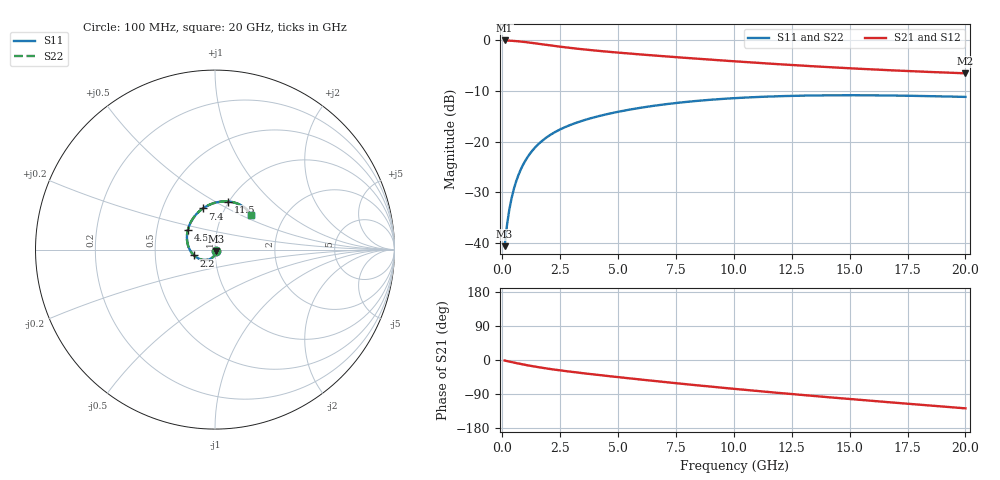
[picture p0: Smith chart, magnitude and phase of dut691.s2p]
! Touchstone file exported from HFSS 2024.1.0
!  File:  C:/UserFiles/LocalFiles/RDL_TSV_Batchsim/temp_RDL_TSV_691_1779819065.aedt
!  Generated:  02:27:32 AM May 27, 2026
!  Design:  RDL_TSV
!  Project:  temp_RDL_TSV_691_1779819065
!  Setup:  Setup1
!  Solution:  Sweep
! Variables:
!  dtsv = 11.43um
!  hbump = 3um
!  htsv = 93.76um
!  ldown = 151.18um
!  lrdl = 233.9um
!  p = 40
!  p1 = 50.9um
!  rhole = 10um
!  subl = 1389.14um
!  t = 450um
!  tdown = 4.74um
!  trdl = 3.05um
!  viad = 10um
!  wdown = 25.34um
!  wrdl = 26.22um
!  xbump = 18um
# GHz S MA R 50.000000
! Terminal data exported
! Port[1] = TM1_1_T1
! Port[2] = TM1_4_T1
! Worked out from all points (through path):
!   200 points, 100 MHz to 20 GHz, reference 50 ohm
!   highest |S21| = -0.06 dB at 100 MHz (marker M1); lowest = -6.5 dB at 20 GHz (marker M2)
!   group delay of S21, straight-line fit = 16.5 ps
!   lowest |S11| = -40.6 dB at 100 MHz (marker M3), VSWR 1.02, Z = 50.6 - j0.704 ohm
!   |S11| at or under -10 dB: start of sweep to end of sweep
!   |S22| runs from -40.6 to -10.8 dB; largest |S21 - S12| = 2.1e-13
!   S11 on the Smith chart (normalised r, x): 100 MHz: 1.01, -0.01; 2.2 GHz: 0.79, -0.05; 4.5 GHz: 0.72, +0.16; 7.4 GHz: 0.79, +0.38; 11.5 GHz: 1.00, +0.58; 20 GHz: 1.36, +0.57
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0.1  0.009347 -48.1  0.9928 -1.4  0.9928 -1.4  0.009346 -48.1
! Gamma 0 0 0 0
! Port Impedance 50 0 50 0
0.2  0.01488 -70.0  0.9913 -2.8  0.9913 -2.8  0.01488 -70.0
0.3  0.02118 -82.0  0.989 -4.1  0.989 -4.1  0.02118 -82.0
0.4  0.02771 -90.4  0.9859 -5.5  0.9859 -5.5  0.0277 -90.4
0.5  0.03425 -97.2  0.9823 -6.8  0.9823 -6.8  0.03425 -97.2
0.6  0.04074 -103.1  0.9781 -8.1  0.9781 -8.1  0.04073 -103.1
0.8  0.05331 -113.4  0.9683 -10.6  0.9683 -10.6  0.05331 -113.4
1.1  0.07091 -126.6  0.951 -14.1  0.951 -14.1  0.07091 -126.6
1.4  0.08679 -138.3  0.9317 -17.4  0.9317 -17.4  0.08679 -138.3
1.8  0.1054 -152.2  0.9053 -21.3  0.9053 -21.3  0.1054 -152.2
2.2  0.1214 -164.5  0.8798 -24.9  0.8798 -24.9  0.1215 -164.6
2.8  0.1419 179.3  0.8454 -29.8  0.8454 -29.8  0.1419 179.3
3.5  0.1619 163.4  0.8113 -34.9  0.8113 -34.9  0.1619 163.3
4.5  0.1861 144.5  0.7711 -41.9  0.7711 -41.9  0.1862 144.5
5.7  0.2107 126.4  0.7311 -49.8  0.7311 -49.8  0.2108 126.4
6.8  0.2298 112.9  0.6989 -56.8  0.6989 -56.8  0.2299 112.8
7.4  0.2389 106.4  0.6825 -60.6  0.6825 -60.6  0.239 106.4
10.1  0.2689 83.4  0.617 -76.6  0.617 -76.6  0.2692 83.4
11.5  0.2782 74.3  0.5878 -84.5  0.5878 -84.5  0.2784 74.3
13.4  0.285 64.3  0.5532 -94.7  0.5532 -94.7  0.2852 64.3
16.7  0.285 51.8  0.5057 -111.4  0.5057 -111.4  0.2852 51.8
20  0.2759 44.1  0.4714 -127.6  0.4714 -127.6  0.2761 44.1
